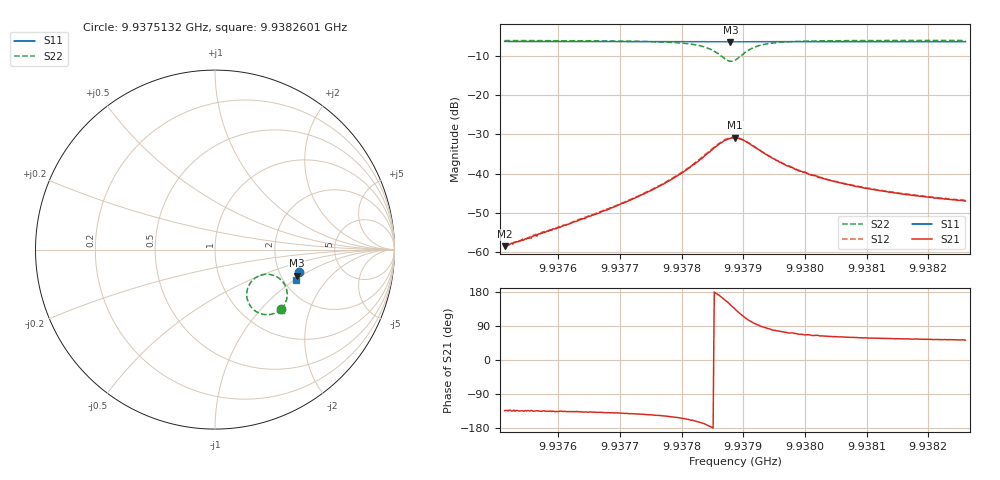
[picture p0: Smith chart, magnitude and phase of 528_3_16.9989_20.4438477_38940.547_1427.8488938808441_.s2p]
#  HZ  S  RI  R  50.00
! Rohde & Schwarz Vector Network Analyzer
! Rohde-Schwarz,ZNB20-2Port,1311601062101988,3.16
! Created: UTC 3/20/2024, 11:15:48 PM
! freq[Hz]  re:S11  im:S11  re:S21  im:S21  re:S12  im:S12  re:S22  im:S22
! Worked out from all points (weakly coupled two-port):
!   401 points, 9.9375132 GHz to 9.9382601 GHz, reference 50 ohm
!   highest |S21| = -30.86 dB at 9.9378867 GHz (marker M1); lowest = -58.5 dB at 9.9375132 GHz (marker M2)
!   lowest |S11| = -6.4 dB at 9.9378792 GHz (marker M3), VSWR 2.83, Z = 121 - j45.6 ohm
!   |S11| at or under -10 dB: nowhere
!   |S22| runs from -11.4 to -6.1 dB; largest |S21 - S12| = 0.0011
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9.93751324e9  0.467 -0.1222  -0.000821 -0.000865  -0.00087 -0.000846  0.3694 -0.3312
9.93755245e9  0.4661 -0.1251  -0.00103 -0.00108  -0.0011 -0.00107  0.3653 -0.3348
9.93763834e9  0.464 -0.1309  -0.00195 -0.00179  -0.00197 -0.00177  0.3535 -0.3431
9.93771303e9  0.4621 -0.136  -0.00349 -0.0028  -0.00357 -0.00276  0.336 -0.3526
9.93776345e9  0.4607 -0.1393  -0.00572 -0.00382  -0.00591 -0.00379  0.3142 -0.36
9.93780266e9  0.4595 -0.1421  -0.0094 -0.00457  -0.00974 -0.00448  0.2817 -0.3622
9.9378232e9  0.4584 -0.1434  -0.0131 -0.00432  -0.0133 -0.00432  0.2529 -0.3564
9.93783814e9  0.4575 -0.1443  -0.0168 -0.00322  -0.0173 -0.00297  0.2243 -0.342
9.93785121e9  0.4567 -0.1448  -0.0207 -0.000287  -0.0212 0.000234  0.1966 -0.3135
9.93786428e9  0.4558 -0.145  -0.024 0.00557  -0.0245 0.00657  0.1771 -0.2612
9.93787362e9  0.4555 -0.1451  -0.0244 0.012  -0.0247 0.0129  0.1837 -0.2113
9.93787922e9  0.4553 -0.1449  -0.0234 0.016  -0.0233 0.017  0.1996 -0.1821
9.93788669e9  0.4554 -0.1448  -0.0201 0.0204  -0.0196 0.0215  0.2334 -0.1522
9.93789603e9  0.4557 -0.1448  -0.0141 0.0236  -0.0135 0.0244  0.2847 -0.1372
9.9379091e9  0.4565 -0.1454  -0.00624 0.0235  -0.00566 0.024  0.3444 -0.1513
9.93792964e9  0.4567 -0.147  0.000455 0.0192  0.000949 0.0192  0.389 -0.1971
9.93796698e9  0.4564 -0.1504  0.00372 0.0126  0.00397 0.0125  0.4024 -0.2543
9.93798752e9  0.456 -0.1518  0.00395 0.0105  0.00422 0.0104  0.4004 -0.2721
9.9380118e9  0.4554 -0.1536  0.00408 0.0086  0.00424 0.00865  0.3963 -0.2869
9.93806595e9  0.454 -0.1573  0.00364 0.00638  0.00379 0.0064  0.3876 -0.3069
9.9381369e9  0.452 -0.1621  0.00319 0.00484  0.00334 0.00489  0.3785 -0.3213
9.93826014e9  0.4486 -0.17  0.00274 0.00355  0.00281 0.00358  0.3665 -0.3364
